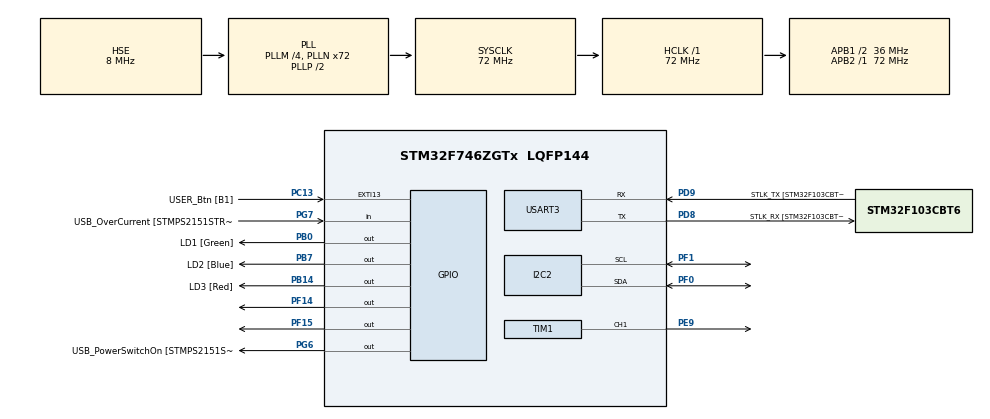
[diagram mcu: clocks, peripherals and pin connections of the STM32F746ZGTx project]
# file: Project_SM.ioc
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I2C2.Timing=0x00808CD2
Mcu.Family=STM32F7
Mcu.Name=STM32F746ZGTx
Mcu.Package=LQFP144
NVIC.PriorityGroup=NVIC_PRIORITYGROUP_4
NVIC.USART3_IRQn=true\:0\:0\:false\:false\:true\:true\:true
PA1.GPIO_Label=RMII_REF_CLK [LAN8742A-CZ-TR_REFCLK0]
PA1.Signal=ETH_REF_CLK
PA10.GPIO_Label=USB_ID
PA10.Signal=USB_OTG_FS_ID
PA11.GPIO_Label=USB_DM
PA11.Signal=USB_OTG_FS_DM
PA12.GPIO_Label=USB_DP
PA12.Signal=USB_OTG_FS_DP
PA13.GPIO_Label=TMS
PA13.Mode=Serial_Wire
PA13.Signal=SYS_JTMS-SWDIO
PA14.GPIO_Label=TCK
PA14.Mode=Serial_Wire
PA14.Signal=SYS_JTCK-SWCLK
PA2.GPIO_Label=RMII_MDIO [LAN8742A-CZ-TR_MDIO]
PA2.Signal=ETH_MDIO
PA7.GPIO_Label=RMII_CRS_DV [LAN8742A-CZ-TR_CRS_DV]
PA7.Signal=ETH_CRS_DV
PA8.GPIO_Label=USB_SOF [TP1]
PA8.Signal=USB_OTG_FS_SOF
PA9.GPIO_Label=USB_VBUS
PA9.Signal=USB_OTG_FS_VBUS
PB0.GPIO_Label=LD1 [Green]
PB0.Signal=GPIO_Output
PB13.GPIO_Label=RMII_TXD1 [LAN8742A-CZ-TR_TXD1]
PB13.Signal=ETH_TXD1
PB14.GPIO_Label=LD3 [Red]
PB14.Signal=GPIO_Output
PB3.GPIO_Label=SW0
PB3.Signal=SYS_JTDO-SWO
PB7.GPIO_Label=LD2 [Blue]
PB7.Signal=GPIO_Output
PC1.GPIO_Label=RMII_MDC [LAN8742A-CZ-TR_MDC]
PC1.Signal=ETH_MDC
PC13.GPIO_Label=USER_Btn [B1]
PC13.Signal=GPXTI13
PC14/OSC32_IN.Mode=LSE-External-Oscillator
PC14/OSC32_IN.Signal=RCC_OSC32_IN
PC15/OSC32_OUT.Mode=LSE-External-Oscillator
PC15/OSC32_OUT.Signal=RCC_OSC32_OUT
PC4.GPIO_Label=RMII_RXD0 [LAN8742A-CZ-TR_RXD0]
PC4.Signal=ETH_RXD0
PC5.GPIO_Label=RMII_RXD1 [LAN8742A-CZ-TR_RXD1]
PC5.Signal=ETH_RXD1
PD8.GPIO_Label=STLK_RX [STM32F103CBT6_PA3]
PD8.Mode=Asynchronous
PD8.Signal=USART3_TX
PD9.GPIO_Label=STLK_TX [STM32F103CBT6_PA2]
PD9.Mode=Asynchronous
PD9.Signal=USART3_RX
PE9.Signal=S_TIM1_CH1
PF0.Mode=I2C
PF0.Signal=I2C2_SDA
PF1.Mode=I2C
PF1.Signal=I2C2_SCL
PF14.Signal=GPIO_Output
PF15.Signal=GPIO_Output
PG11.GPIO_Label=RMII_TX_EN [LAN8742A-CZ-TR_TXEN]
PG11.Signal=ETH_TX_EN
PG13.GPIO_Label=RMII_TXD0 [LAN8742A-CZ-TR_TXD0]
PG13.Signal=ETH_TXD0
PG6.GPIO_Label=USB_PowerSwitchOn [STMPS2151STR_EN]
PG6.Signal=GPIO_Output
PG7.GPIO_Label=USB_OverCurrent [STMPS2151STR_FAULT]
PG7.Signal=GPIO_Input
PH0/OSC_IN.GPIO_Label=MCO [STM32F103CBT6_PA8]
PH0/OSC_IN.Mode=HSE-External-Clock-Source
PH0/OSC_IN.Signal=RCC_OSC_IN
PH1/OSC_OUT.Mode=HSE-External-Clock-Source
PH1/OSC_OUT.Signal=RCC_OSC_OUT
ProjectManager.HeapSize=0x200
ProjectManager.StackSize=0x400
ProjectManager.TargetToolchain=STM32CubeIDE
RCC.48MHZClocksFreq_Value=24000000
RCC.AHBFreq_Value=72000000
RCC.APB1CLKDivider=RCC_HCLK_DIV2
RCC.APB1Freq_Value=36000000
RCC.APB1TimFreq_Value=72000000
RCC.APB2Freq_Value=72000000
RCC.APB2TimFreq_Value=72000000
RCC.CortexFreq_Value=72000000
RCC.HCLKFreq_Value=72000000
RCC.HSE_VALUE=8000000
RCC.HSI_VALUE=16000000
RCC.PLLM=4
RCC.PLLMUL=RCC_PLL_MUL9
RCC.PLLN=72
RCC.PLLQ=3
RCC.PLLSourceVirtual=RCC_PLLSOURCE_HSE
RCC.PRESCALERUSB=RCC_USBCLKSOURCE_PLL_DIV1_5
RCC.SYSCLKFreq_VALUE=72000000
RCC.SYSCLKSource=RCC_SYSCLKSOURCE_PLLCLK
RCC.SYSCLKSourceVirtual=RCC_SYSCLKSOURCE_PLLCLK
RCC.USBFreq_Value=48000000
RCC.VCOOutputFreq_Value=144000000
SH.S_TIM1_CH1.0=TIM1_CH1,PWM Generation1 CH1
TIM1.AutoReloadPreload=TIM_AUTORELOAD_PRELOAD_ENABLE
TIM1.Channel-PWM\ Generation1\ CH1=TIM_CHANNEL_1
TIM1.Period=999
TIM1.Prescaler=71
USART3.VirtualMode-Asynchronous=VM_ASYNC
VP_TIM1_VS_ClockSourceINT.Mode=Internal
board=NUCLEO-F746ZG

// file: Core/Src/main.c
/* USER CODE BEGIN Header */
/**
  ******************************************************************************
  * @file           : main.c
  * @brief          : Main program body
  ******************************************************************************
  * @attention
  *
  * Copyright (c) 2022 STMicroelectronics.
  * All rights reserved.
  *
  * This software is licensed under terms that can be found in the LICENSE file
  * in the root directory of this software component.
  * If no LICENSE file comes with this software, it is provided AS-IS.
  *
  ******************************************************************************
  */
/* USER CODE END Header */
#include "main.h"

/* USER CODE BEGIN Includes */
#include "stm32_tm1637.h"
#include "bh1750.h"
#include "PID.h"
#include <stdio.h>
#include <string.h>
#include <math.h>
/* USER CODE END Includes */

I2C_HandleTypeDef hi2c2;

TIM_HandleTypeDef htim1;

UART_HandleTypeDef huart3;

/* USER CODE BEGIN PV */
float measure;
uint16_t u;
float yr = 0;
PIDController pid;
const char text[20];
int licznik = 0;
int wyswietlacz = 0;
float wyswietlaczf = 0.0;
uint8_t key[1];
float light;
float limitMin;
float limitMax;
/* USER CODE END PV */

void SystemClock_Config(void);
static void MX_GPIO_Init(void);
static void MX_USART3_UART_Init(void);
static void MX_TIM1_Init(void);
static void MX_I2C2_Init(void);

/* USER CODE BEGIN 0 */
void HAL_UART_RxCpltCallback(UART_HandleTypeDef *huart) {
       switch (key[0]) {
             case 'q': yr += 10; if(yr > limitMax) yr = limitMax;   break;
             case 'e': yr -= 10; if(yr < limitMin) yr = limitMin;   break;
       }
       HAL_UART_Receive_IT(&huart3, key, 1);
}

/* USER CODE END 0 */

int main(void)
{

  /* MCU Configuration--------------------------------------------------------*/

  /* Reset of all peripherals, Initializes the Flash interface and the Systick. */
  HAL_Init();

  /* Configure the system clock */
  SystemClock_Config();

  /* Initialize all configured peripherals */
  MX_GPIO_Init();
  MX_USART3_UART_Init();
  MX_TIM1_Init();
  MX_I2C2_Init();
  /* USER CODE BEGIN 2 */
  BH1750_Init(&hi2c2);
  BH1750_SetMode(CONTINUOUS_HIGH_RES_MODE_2);
  HAL_TIM_PWM_Start(&htim1, TIM_CHANNEL_1);
  PIDController_Init(&pid);
  HAL_UART_Receive_IT(&huart3, key, 1); // <------------------------
  tm1637Init();
  tm1637SetBrightness(4);
  BH1750_ReadLight(&light);
  limitMin = ceil(light);
  __HAL_TIM_SET_COMPARE(&htim1, TIM_CHANNEL_1, 1000);
  HAL_Delay(1000);
  BH1750_ReadLight(&light);
  limitMax = floor(light);
  yr = round((limitMax+limitMin)/2);
  /* USER CODE END 2 */

  /* Infinite loop */
  /* USER CODE BEGIN WHILE */
  while (1)
  {
	  BH1750_ReadLight(&measure);
	  u = (uint16_t)PIDController_Update(&pid, yr, measure);
	  __HAL_TIM_SET_COMPARE(&htim1, TIM_CHANNEL_1, u);
	  wyswietlaczf = measure*10;
	  wyswietlacz = wyswietlaczf;
	  tm1637DisplayDecimal(wyswietlacz, 0);
	  sprintf((char*)text, "%.2f,%.2f,%d \n", measure, yr, u);
	  HAL_UART_Transmit(&huart3, (uint8_t*)text, strlen(text), 500);
    /* USER CODE END WHILE */

  }
}

void SystemClock_Config(void)
{
  RCC_OscInitTypeDef RCC_OscInitStruct = {0};
  RCC_ClkInitTypeDef RCC_ClkInitStruct = {0};

  /** Configure LSE Drive Capability
  */
  HAL_PWR_EnableBkUpAccess();
  /** Configure the main internal regulator output voltage
  */
  __HAL_RCC_PWR_CLK_ENABLE();
  __HAL_PWR_VOLTAGESCALING_CONFIG(PWR_REGULATOR_VOLTAGE_SCALE3);
  /** Initializes the RCC Oscillators according to the specified parameters
  * in the RCC_OscInitTypeDef structure.
  */
  RCC_OscInitStruct.OscillatorType = RCC_OSCILLATORTYPE_HSE;
  RCC_OscInitStruct.HSEState = RCC_HSE_BYPASS;
  RCC_OscInitStruct.PLL.PLLState = RCC_PLL_ON;
  RCC_OscInitStruct.PLL.PLLSource = RCC_PLLSOURCE_HSE;
  RCC_OscInitStruct.PLL.PLLM = 4;
  RCC_OscInitStruct.PLL.PLLN = 72;
  RCC_OscInitStruct.PLL.PLLP = RCC_PLLP_DIV2;
  RCC_OscInitStruct.PLL.PLLQ = 3;
  if (HAL_RCC_OscConfig(&RCC_OscInitStruct) != HAL_OK)
  {
    Error_Handler();
  }
  /** Initializes the CPU, AHB and APB buses clocks
  */
  RCC_ClkInitStruct.ClockType = RCC_CLOCKTYPE_HCLK|RCC_CLOCKTYPE_SYSCLK
                              |RCC_CLOCKTYPE_PCLK1|RCC_CLOCKTYPE_PCLK2;
  RCC_ClkInitStruct.SYSCLKSource = RCC_SYSCLKSOURCE_PLLCLK;
  RCC_ClkInitStruct.AHBCLKDivider = RCC_SYSCLK_DIV1;
  RCC_ClkInitStruct.APB1CLKDivider = RCC_HCLK_DIV2;
  RCC_ClkInitStruct.APB2CLKDivider = RCC_HCLK_DIV1;

  if (HAL_RCC_ClockConfig(&RCC_ClkInitStruct, FLASH_LATENCY_2) != HAL_OK)
  {
    Error_Handler();
  }
}

static void MX_I2C2_Init(void)
{

  hi2c2.Instance = I2C2;
  hi2c2.Init.Timing = 0x00808CD2;
  hi2c2.Init.OwnAddress1 = 0;
  hi2c2.Init.AddressingMode = I2C_ADDRESSINGMODE_7BIT;
  hi2c2.Init.DualAddressMode = I2C_DUALADDRESS_DISABLE;
  hi2c2.Init.OwnAddress2 = 0;
  hi2c2.Init.OwnAddress2Masks = I2C_OA2_NOMASK;
  hi2c2.Init.GeneralCallMode = I2C_GENERALCALL_DISABLE;
  hi2c2.Init.NoStretchMode = I2C_NOSTRETCH_DISABLE;
  if (HAL_I2C_Init(&hi2c2) != HAL_OK)
  {
    Error_Handler();
  }
  /** Configure Analogue filter
  */
  if (HAL_I2CEx_ConfigAnalogFilter(&hi2c2, I2C_ANALOGFILTER_ENABLE) != HAL_OK)
  {
    Error_Handler();
  }
  /** Configure Digital filter
  */
  if (HAL_I2CEx_ConfigDigitalFilter(&hi2c2, 0) != HAL_OK)
  {
    Error_Handler();
  }

}

static void MX_TIM1_Init(void)
{

  TIM_ClockConfigTypeDef sClockSourceConfig = {0};
  TIM_MasterConfigTypeDef sMasterConfig = {0};
  TIM_OC_InitTypeDef sConfigOC = {0};
  TIM_BreakDeadTimeConfigTypeDef sBreakDeadTimeConfig = {0};

  htim1.Instance = TIM1;
  htim1.Init.Prescaler = 71;
  htim1.Init.CounterMode = TIM_COUNTERMODE_UP;
  htim1.Init.Period = 999;
  htim1.Init.ClockDivision = TIM_CLOCKDIVISION_DIV1;
  htim1.Init.RepetitionCounter = 0;
  htim1.Init.AutoReloadPreload = TIM_AUTORELOAD_PRELOAD_ENABLE;
  if (HAL_TIM_Base_Init(&htim1) != HAL_OK)
  {
    Error_Handler();
  }
  sClockSourceConfig.ClockSource = TIM_CLOCKSOURCE_INTERNAL;
  if (HAL_TIM_ConfigClockSource(&htim1, &sClockSourceConfig) != HAL_OK)
  {
    Error_Handler();
  }
  if (HAL_TIM_PWM_Init(&htim1) != HAL_OK)
  {
    Error_Handler();
  }
  sMasterConfig.MasterOutputTrigger = TIM_TRGO_RESET;
  sMasterConfig.MasterOutputTrigger2 = TIM_TRGO2_RESET;
  sMasterConfig.MasterSlaveMode = TIM_MASTERSLAVEMODE_DISABLE;
  if (HAL_TIMEx_MasterConfigSynchronization(&htim1, &sMasterConfig) != HAL_OK)
  {
    Error_Handler();
  }
  sConfigOC.OCMode = TIM_OCMODE_PWM1;
  sConfigOC.Pulse = 0;
  sConfigOC.OCPolarity = TIM_OCPOLARITY_HIGH;
  sConfigOC.OCNPolarity = TIM_OCNPOLARITY_HIGH;
  sConfigOC.OCFastMode = TIM_OCFAST_DISABLE;
  sConfigOC.OCIdleState = TIM_OCIDLESTATE_RESET;
  sConfigOC.OCNIdleState = TIM_OCNIDLESTATE_RESET;
  if (HAL_TIM_PWM_ConfigChannel(&htim1, &sConfigOC, TIM_CHANNEL_1) != HAL_OK)
  {
    Error_Handler();
  }
  sBreakDeadTimeConfig.OffStateRunMode = TIM_OSSR_DISABLE;
  sBreakDeadTimeConfig.OffStateIDLEMode = TIM_OSSI_DISABLE;
  sBreakDeadTimeConfig.LockLevel = TIM_LOCKLEVEL_OFF;
  sBreakDeadTimeConfig.DeadTime = 0;
  sBreakDeadTimeConfig.BreakState = TIM_BREAK_DISABLE;
  sBreakDeadTimeConfig.BreakPolarity = TIM_BREAKPOLARITY_HIGH;
  sBreakDeadTimeConfig.BreakFilter = 0;
  sBreakDeadTimeConfig.Break2State = TIM_BREAK2_DISABLE;
  sBreakDeadTimeConfig.Break2Polarity = TIM_BREAK2POLARITY_HIGH;
  sBreakDeadTimeConfig.Break2Filter = 0;
  sBreakDeadTimeConfig.AutomaticOutput = TIM_AUTOMATICOUTPUT_DISABLE;
  if (HAL_TIMEx_ConfigBreakDeadTime(&htim1, &sBreakDeadTimeConfig) != HAL_OK)
  {
    Error_Handler();
  }
  HAL_TIM_MspPostInit(&htim1);

}

static void MX_USART3_UART_Init(void)
{

  huart3.Instance = USART3;
  huart3.Init.BaudRate = 115200;
  huart3.Init.WordLength = UART_WORDLENGTH_8B;
  huart3.Init.StopBits = UART_STOPBITS_1;
  huart3.Init.Parity = UART_PARITY_NONE;
  huart3.Init.Mode = UART_MODE_TX_RX;
  huart3.Init.HwFlowCtl = UART_HWCONTROL_NONE;
  huart3.Init.OverSampling = UART_OVERSAMPLING_16;
  huart3.Init.OneBitSampling = UART_ONE_BIT_SAMPLE_DISABLE;
  huart3.AdvancedInit.AdvFeatureInit = UART_ADVFEATURE_NO_INIT;
  if (HAL_UART_Init(&huart3) != HAL_OK)
  {
    Error_Handler();
  }

}

static void MX_GPIO_Init(void)
{
  GPIO_InitTypeDef GPIO_InitStruct = {0};

  /* GPIO Ports Clock Enable */
  __HAL_RCC_GPIOC_CLK_ENABLE();
  __HAL_RCC_GPIOF_CLK_ENABLE();
  __HAL_RCC_GPIOH_CLK_ENABLE();
  __HAL_RCC_GPIOA_CLK_ENABLE();
  __HAL_RCC_GPIOB_CLK_ENABLE();
  __HAL_RCC_GPIOE_CLK_ENABLE();
  __HAL_RCC_GPIOD_CLK_ENABLE();
  __HAL_RCC_GPIOG_CLK_ENABLE();

  /*Configure GPIO pin Output Level */
  HAL_GPIO_WritePin(GPIOB, LD1_Pin|LD3_Pin|LD2_Pin, GPIO_PIN_RESET);

  /*Configure GPIO pin Output Level */
  HAL_GPIO_WritePin(GPIOF, GPIO_PIN_14|GPIO_PIN_15, GPIO_PIN_RESET);

  /*Configure GPIO pin Output Level */
  HAL_GPIO_WritePin(USB_PowerSwitchOn_GPIO_Port, USB_PowerSwitchOn_Pin, GPIO_PIN_RESET);

  /*Configure GPIO pin : USER_Btn_Pin */
  GPIO_InitStruct.Pin = USER_Btn_Pin;
  GPIO_InitStruct.Mode = GPIO_MODE_IT_RISING;
  GPIO_InitStruct.Pull = GPIO_NOPULL;
  HAL_GPIO_Init(USER_Btn_GPIO_Port, &GPIO_InitStruct);

  /*Configure GPIO pins : RMII_MDC_Pin RMII_RXD0_Pin RMII_RXD1_Pin */
  GPIO_InitStruct.Pin = RMII_MDC_Pin|RMII_RXD0_Pin|RMII_RXD1_Pin;
  GPIO_InitStruct.Mode = GPIO_MODE_AF_PP;
  GPIO_InitStruct.Pull = GPIO_NOPULL;
  GPIO_InitStruct.Speed = GPIO_SPEED_FREQ_VERY_HIGH;
  GPIO_InitStruct.Alternate = GPIO_AF11_ETH;
  HAL_GPIO_Init(GPIOC, &GPIO_InitStruct);

  /*Configure GPIO pins : RMII_REF_CLK_Pin RMII_MDIO_Pin RMII_CRS_DV_Pin */
  GPIO_InitStruct.Pin = RMII_REF_CLK_Pin|RMII_MDIO_Pin|RMII_CRS_DV_Pin;
  GPIO_InitStruct.Mode = GPIO_MODE_AF_PP;
  GPIO_InitStruct.Pull = GPIO_NOPULL;
  GPIO_InitStruct.Speed = GPIO_SPEED_FREQ_VERY_HIGH;
  GPIO_InitStruct.Alternate = GPIO_AF11_ETH;
  HAL_GPIO_Init(GPIOA, &GPIO_InitStruct);

  /*Configure GPIO pins : LD1_Pin LD3_Pin LD2_Pin */
  GPIO_InitStruct.Pin = LD1_Pin|LD3_Pin|LD2_Pin;
  GPIO_InitStruct.Mode = GPIO_MODE_OUTPUT_PP;
  GPIO_InitStruct.Pull = GPIO_NOPULL;
  GPIO_InitStruct.Speed = GPIO_SPEED_FREQ_LOW;
  HAL_GPIO_Init(GPIOB, &GPIO_InitStruct);

  /*Configure GPIO pins : PF14 PF15 */
  GPIO_InitStruct.Pin = GPIO_PIN_14|GPIO_PIN_15;
  GPIO_InitStruct.Mode = GPIO_MODE_OUTPUT_PP;
  GPIO_InitStruct.Pull = GPIO_NOPULL;
  GPIO_InitStruct.Speed = GPIO_SPEED_FREQ_LOW;
  HAL_GPIO_Init(GPIOF, &GPIO_InitStruct);

  /*Configure GPIO pin : RMII_TXD1_Pin */
  GPIO_InitStruct.Pin = RMII_TXD1_Pin;
  GPIO_InitStruct.Mode = GPIO_MODE_AF_PP;
  GPIO_InitStruct.Pull = GPIO_NOPULL;
  GPIO_InitStruct.Speed = GPIO_SPEED_FREQ_VERY_HIGH;
  GPIO_InitStruct.Alternate = GPIO_AF11_ETH;
  HAL_GPIO_Init(RMII_TXD1_GPIO_Port, &GPIO_InitStruct);

  /*Configure GPIO pin : USB_PowerSwitchOn_Pin */
  GPIO_InitStruct.Pin = USB_PowerSwitchOn_Pin;
  GPIO_InitStruct.Mode = GPIO_MODE_OUTPUT_PP;
  GPIO_InitStruct.Pull = GPIO_NOPULL;
  GPIO_InitStruct.Speed = GPIO_SPEED_FREQ_LOW;
  HAL_GPIO_Init(USB_PowerSwitchOn_GPIO_Port, &GPIO_InitStruct);

  /*Configure GPIO pin : USB_OverCurrent_Pin */
  GPIO_InitStruct.Pin = USB_OverCurrent_Pin;
  GPIO_InitStruct.Mode = GPIO_MODE_INPUT;
  GPIO_InitStruct.Pull = GPIO_NOPULL;
  HAL_GPIO_Init(USB_OverCurrent_GPIO_Port, &GPIO_InitStruct);

  /*Configure GPIO pins : USB_SOF_Pin USB_ID_Pin USB_DM_Pin USB_DP_Pin */
  GPIO_InitStruct.Pin = USB_SOF_Pin|USB_ID_Pin|USB_DM_Pin|USB_DP_Pin;
  GPIO_InitStruct.Mode = GPIO_MODE_AF_PP;
  GPIO_InitStruct.Pull = GPIO_NOPULL;
  GPIO_InitStruct.Speed = GPIO_SPEED_FREQ_VERY_HIGH;
  GPIO_InitStruct.Alternate = GPIO_AF10_OTG_FS;
  HAL_GPIO_Init(GPIOA, &GPIO_InitStruct);

  /*Configure GPIO pin : USB_VBUS_Pin */
  GPIO_InitStruct.Pin = USB_VBUS_Pin;
  GPIO_InitStruct.Mode = GPIO_MODE_INPUT;
  GPIO_InitStruct.Pull = GPIO_NOPULL;
  HAL_GPIO_Init(USB_VBUS_GPIO_Port, &GPIO_InitStruct);

  /*Configure GPIO pins : RMII_TX_EN_Pin RMII_TXD0_Pin */
  GPIO_InitStruct.Pin = RMII_TX_EN_Pin|RMII_TXD0_Pin;
  GPIO_InitStruct.Mode = GPIO_MODE_AF_PP;
  GPIO_InitStruct.Pull = GPIO_NOPULL;
  GPIO_InitStruct.Speed = GPIO_SPEED_FREQ_VERY_HIGH;
  GPIO_InitStruct.Alternate = GPIO_AF11_ETH;
  HAL_GPIO_Init(GPIOG, &GPIO_InitStruct);

}

void Error_Handler(void)
{
  __disable_irq();
  while (1)
  {
  }
}
